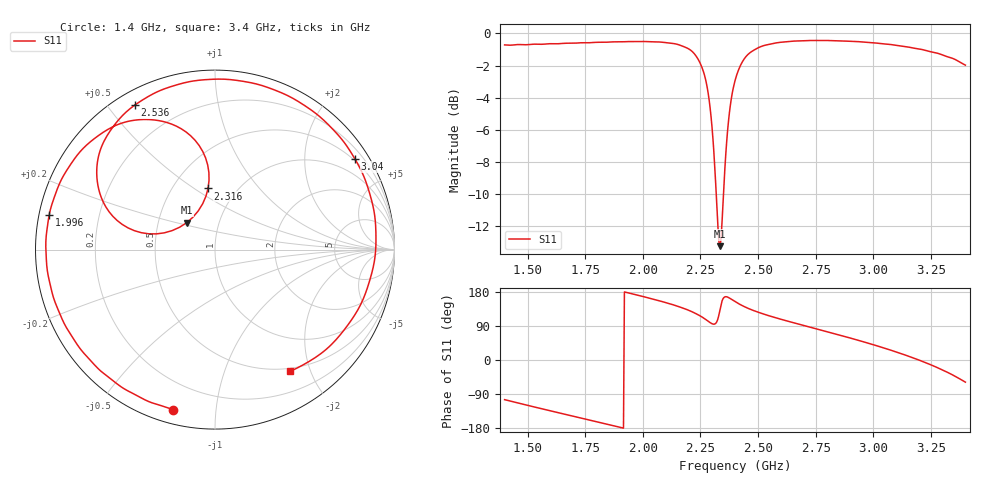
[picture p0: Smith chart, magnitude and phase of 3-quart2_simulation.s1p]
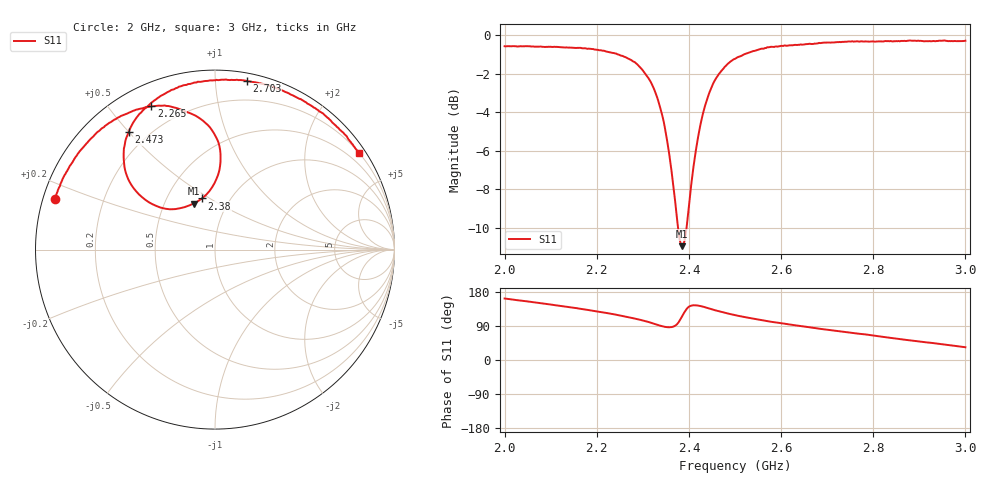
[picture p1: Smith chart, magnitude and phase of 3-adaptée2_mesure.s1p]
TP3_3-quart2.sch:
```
<Qucs Schematic 0.0.19>
<Properties>
  <View=0,0,1512,800,1,0,0>
  <Grid=10,10,1>
  <DataSet=TP3_3-quart2.dat>
  <DataDisplay=TP3_3-quart2.dpl>
  <OpenDisplay=1>
  <Script=TP3_3-quart2.m>
  <RunScript=0>
  <showFrame=0>
  <FrameText0=Titre>
  <FrameText1=Auteur :>
  <FrameText2=Date :>
  <FrameText3=Version :>
</Properties>
<Symbol>
</Symbol>
<Components>
  <GND * 1 1290 410 0 0 0 0>
  <GND * 1 1220 410 0 0 0 0>
  <Pac P1 1 1220 380 -94 -26 1 1 "2" 1 "50 Ohm" 1 "0 dBm" 0 "1 GHz" 0 "26.85" 0>
  <.SP SP1 1 280 260 0 77 0 0 "lin" 1 "2 GHz" 1 "3 GHz" 1 "400" 1 "no" 0 "1" 0 "2" 0 "no" 0 "no" 0>
  <Eqn Eqn1 1 520 300 -31 19 0 0 "S11_Simulation=S[1,1]" 1 "S11_Mesure=S[2,2]" 1 "dB_S11_Simulation=dB(S11_Simulation)" 1 "dB_S11_Mesure=dB(S11_Mesure)" 1 "yes" 0>
  <GND * 1 1010 410 0 0 0 0>
  <GND * 1 940 410 0 0 0 0>
  <Pac P2 1 940 380 -94 -26 1 1 "1" 1 "50 Ohm" 1 "0 dBm" 0 "1 GHz" 0 "26.85" 0>
  <SPfile X1 1 1010 350 -26 -67 0 0 "3-quart2_simulation.s1p" 1 "rectangular" 0 "linear" 0 "open" 0 "1" 0>
  <SPfile X2 1 1290 350 -26 -67 0 0 "3-adaptée2_mesure.s1p" 1 "rectangular" 0 "linear" 0 "open" 0 "1" 0>
</Components>
<Wires>
  <1290 380 1290 410 "" 0 0 0 "">
  <1220 350 1260 350 "" 0 0 0 "">
  <1010 380 1010 410 "" 0 0 0 "">
  <940 350 980 350 "" 0 0 0 "">
</Wires>
<Diagrams>
</Diagrams>
<Paintings>
</Paintings>
```
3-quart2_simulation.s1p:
#  Hz  S  RI  R  50
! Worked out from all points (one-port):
!   501 points, 1.4 GHz to 3.4 GHz, reference 50 ohm
!   lowest |S11| = -13.2 dB at 2.336 GHz (marker M1), VSWR 1.56, Z = 34.9 + j11 ohm
!   |S11| at or under -10 dB: 2.319 GHz to 2.35 GHz (31.42 MHz wide, 1.35 % of centre)
!   S11 on the Smith chart (normalised r, x): 1.4 GHz: 0.07, -0.77; 1.996 GHz: 0.03, +0.10; 2.316 GHz: 0.74, +0.57; 2.536 GHz: 0.06, +0.59; 3.04 GHz: 0.45, +3.32; 3.4 GHz: 0.46, -1.70
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1.4e9  -0.2332 -0.8913
1.728e9  -0.8314 -0.4285
1.996e9  -0.9241 0.1917
2.068e9  -0.8653 0.3699
2.244e9  -0.3855 0.725
2.316e9  -0.0387 0.341
2.336e9  -0.1584 0.1495
2.364e9  -0.4493 0.1055
2.404e9  -0.6478 0.3359
2.536e9  -0.4449 0.8064
2.736e9  0.0837 0.9472
3.04e9  0.7793 0.5056
3.236e9  0.8707 -0.1414
3.4e9  0.4172 -0.6791
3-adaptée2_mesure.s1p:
! ZVRE, 3.52
! symbol freq-unit parameter-type data-format keyword impedance-ohm
#  HZ  S  RI  R  50
! freq  reS11  imS11
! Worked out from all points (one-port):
!   401 points, 2 GHz to 3 GHz, reference 50 ohm
!   lowest |S11| = -11.0 dB at 2.385 GHz (marker M1), VSWR 1.79, Z = 34.9 + j19.4 ohm
!   |S11| at or under -10 dB: 2.376 GHz to 2.395 GHz (18.54 MHz wide, 0.777 % of centre)
!   S11 on the Smith chart (normalised r, x): 2 GHz: 0.03, +0.16; 2.265 GHz: 0.10, +0.65; 2.38 GHz: 0.74, +0.46; 2.473 GHz: 0.13, +0.50; 2.703 GHz: 0.05, +1.20; 3 GHz: 0.20, +3.29
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2e9  -0.8912 0.2846
2.1525e9  -0.6829 0.6259
2.265e9  -0.3539 0.7979
2.335e9  -0.0166 0.6647
2.36e9  0.0279 0.4639
2.38e9  -0.0724 0.2852
2.385e9  -0.1194 0.2565
2.4025e9  -0.3038 0.2341
2.4275e9  -0.474 0.3739
2.4725e9  -0.4817 0.6541
2.555e9  -0.2506 0.884
2.6675e9  0.0767 0.9453
2.7025e9  0.1762 0.9405
3e9  0.804 0.5366
